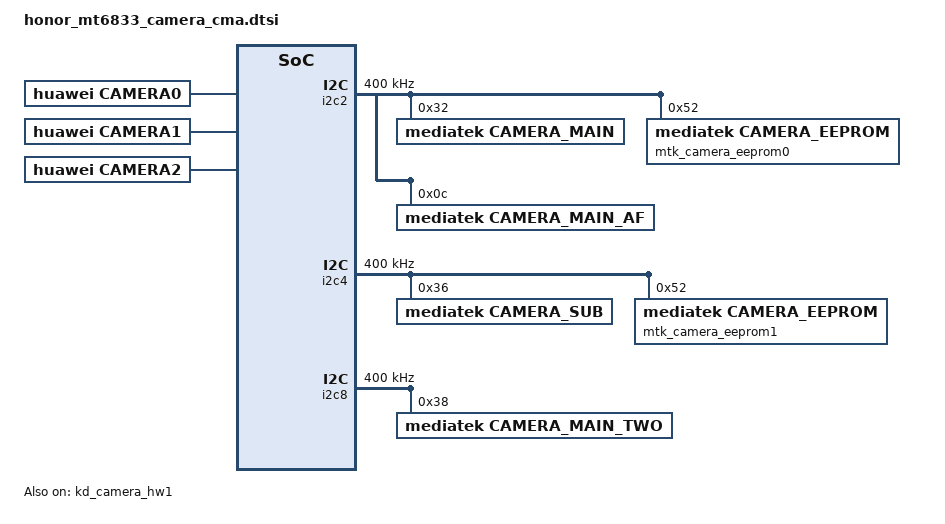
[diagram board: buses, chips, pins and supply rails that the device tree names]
/*
 * Copyright (c) 2019 MediaTek Inc.
 *
 * This program is free software; you can redistribute it and/or modify
 * it under the terms of the GNU General Public License version 2 as
 * published by the Free Software Foundation.
 *
 * This program is distributed in the hope that it will be useful,
 * but WITHOUT ANY WARRANTY; without even the implied warranty of
 * MERCHANTABILITY or FITNESS FOR A PARTICULAR PURPOSE.  See the
 * GNU General Public License for more details.
 */
/* CAMERA GPIO standardization */

&product_name_camera {
	product-name = "Carmella";
	cam-isp-dsm-enabled = <1>;
};

&pio {
/* main cam */
	camera_pins_cam0_rst_0: cam0@0 {
		pins_cmd_dat {
			pinmux = <PINMUX_GPIO54__FUNC_GPIO54>;
			slew-rate = <1>;
			output-low;
		};
	};
	camera_pins_cam0_rst_1: cam0@1 {
		pins_cmd_dat {
			pinmux = <PINMUX_GPIO54__FUNC_GPIO54>;
			slew-rate = <1>;
			output-high;
		};
	};
	camera_pins_cam0_vcamd_en_0: cam0@vcam0 {
		pins_cmd_dat {
			pinmux = <PINMUX_GPIO94__FUNC_GPIO94>;
			slew-rate = <1>;
			output-low;
		};
	};
	camera_pins_cam0_vcamd_en_1: cam0@vcam1 {
		pins_cmd_dat {
			pinmux = <PINMUX_GPIO94__FUNC_GPIO94>;
			slew-rate = <1>;
			output-high;
		};
	};
	camera_pins_cam0_vcamd_sel_0: cam0@vcam2 {
		pins_cmd_dat {
			pinmux = <PINMUX_GPIO93__FUNC_GPIO93>;
			slew-rate = <1>;
			output-low;
		};
	};
	camera_pins_cam0_vcamd_sel_1: cam0@vcam3 {
		pins_cmd_dat {
			pinmux = <PINMUX_GPIO93__FUNC_GPIO93>;
			slew-rate = <0>;
			bias-disable;
		};
	};
	camera_pins_cam0_vcama_sel_0: cam1@vcam4 {
		pins_cmd_dat {
			pinmux = <PINMUX_GPIO132__FUNC_GPIO132>;
			slew-rate = <1>;
			output-low;
		};
	};
	camera_pins_cam0_vcama_sel_1: cam1@vcam5 {
		pins_cmd_dat {
			pinmux = <PINMUX_GPIO132__FUNC_GPIO132>;
			slew-rate = <0>;
			bias-disable;
		};
	};
	camera_pins_cam0_vcama_en_0: cam0@vcam4 {
		pins_cmd_dat {
			pinmux = <PINMUX_GPIO89__FUNC_GPIO89>;
			slew-rate = <1>;
			output-low;
		};
	};
	camera_pins_cam0_vcama_en_1: cam0@vcam5 {
		pins_cmd_dat {
			pinmux = <PINMUX_GPIO89__FUNC_GPIO89>;
			slew-rate = <1>;
			output-high;
		};
	};
	camera_pins_cam0_mclk_off: camera_pins_cam0_mclk_off {
		pins_cmd_dat {
			pinmux = <PINMUX_GPIO49__FUNC_GPIO49>;
			drive-strength = <1>;
		};
	};
	camera_pins_cam0_mclk_2ma: camera_pins_cam0_mclk_2ma {
		pins_cmd_dat {
			pinmux = <PINMUX_GPIO49__FUNC_CMMCLK0>;
			drive-strength = <0>;
		};
	};
	camera_pins_cam0_mclk_4ma: camera_pins_cam0_mclk_4ma {
		pins_cmd_dat {
			pinmux = <PINMUX_GPIO49__FUNC_CMMCLK0>;
			drive-strength = <1>;
		};
	};
	camera_pins_cam0_mclk_6ma: camera_pins_cam0_mclk_6ma {
		pins_cmd_dat {
			pinmux = <PINMUX_GPIO49__FUNC_CMMCLK0>;
			drive-strength = <2>;
		};
	};
	camera_pins_cam0_mclk_8ma: camera_pins_cam0_mclk_8ma {
		pins_cmd_dat {
			pinmux = <PINMUX_GPIO49__FUNC_CMMCLK0>;
			drive-strength = <3>;
		};
	};
/*front cam */
	camera_pins_cam1_rst_0: cam1@0 {
		pins_cmd_dat {
			pinmux = <PINMUX_GPIO53__FUNC_GPIO53>;
			slew-rate = <1>;
			output-low;
		};
	};
	camera_pins_cam1_rst_1: cam1@1 {
		pins_cmd_dat {
			pinmux = <PINMUX_GPIO53__FUNC_GPIO53>;
			slew-rate = <1>;
			output-high;
		};
	};
	camera_pins_cam1_vcamd_en_0: cam1@vcam0 {
		pins_cmd_dat {
			pinmux = <PINMUX_GPIO94__FUNC_GPIO94>;
			slew-rate = <1>;
			output-low;
		};
	};
	camera_pins_cam1_vcamd_en_1: cam1@vcam1 {
		pins_cmd_dat {
			pinmux = <PINMUX_GPIO94__FUNC_GPIO94>;
			slew-rate = <1>;
			output-high;
		};
	};
	camera_pins_cam1_vcamd_sel_0: cam1@vcam2 {
		pins_cmd_dat {
			pinmux = <PINMUX_GPIO93__FUNC_GPIO93>;
			slew-rate = <1>;
			output-low;
		};
	};
	camera_pins_cam1_vcamd_sel_1: cam1@vcam3 {
		pins_cmd_dat {
			pinmux = <PINMUX_GPIO93__FUNC_GPIO93>;
			slew-rate = <0>;
			bias-disable;
		};
	};
	camera_pins_cam1_mclk_off: camera_pins_cam1_mclk_off {
		pins_cmd_dat {
			pinmux = <PINMUX_GPIO52__FUNC_GPIO52>;
			drive-strength = <1>;
		};
	};
	camera_pins_cam1_mclk_2ma: camera_pins_cam1_mclk_2ma {
		pins_cmd_dat {
			pinmux = <PINMUX_GPIO52__FUNC_CMMCLK3>;
			drive-strength = <0>;
		};
	};
	camera_pins_cam1_mclk_4ma: camera_pins_cam1_mclk_4ma {
		pins_cmd_dat {
			pinmux = <PINMUX_GPIO52__FUNC_CMMCLK3>;
			drive-strength = <1>;
		};
	};
	camera_pins_cam1_mclk_6ma: camera_pins_cam1_mclk_6ma {
		pins_cmd_dat {
			pinmux = <PINMUX_GPIO52__FUNC_CMMCLK3>;
			drive-strength = <2>;
		};
	};
	camera_pins_cam1_mclk_8ma: camera_pins_cam1_mclk_8ma {
		pins_cmd_dat {
			pinmux = <PINMUX_GPIO52__FUNC_CMMCLK3>;
			drive-strength = <3>;
		};
	};

/* main2 depth */
	camera_pins_cam2_pdn_0: cam2@0 {
		pins_cmd_dat {
			pinmux = <PINMUX_GPIO56__FUNC_GPIO56>;
			slew-rate = <1>;
			output-low;
		};
	};
	camera_pins_cam2_pdn_1: cam2@1 {
		pins_cmd_dat {
			pinmux = <PINMUX_GPIO56__FUNC_GPIO56>;
			slew-rate = <1>;
			output-high;
		};
	};
	camera_pins_cam2_mclk_off: camera_pins_cam2_mclk_off {
		pins_cmd_dat {
			pinmux = <PINMUX_GPIO50__FUNC_GPIO50>;
			drive-strength = <1>;
		};
	};
	camera_pins_cam2_mclk_2ma: camera_pins_cam2_mclk_2ma {
		pins_cmd_dat {
			pinmux = <PINMUX_GPIO50__FUNC_CMMCLK1>;
			drive-strength = <0>;
		};
	};
	camera_pins_cam2_mclk_4ma: camera_pins_cam2_mclk_4ma {
		pins_cmd_dat {
			pinmux = <PINMUX_GPIO50__FUNC_CMMCLK1>;
			drive-strength = <1>;
		};
	};
	camera_pins_cam2_mclk_6ma: camera_pins_cam2_mclk_6ma {
		pins_cmd_dat {
			pinmux = <PINMUX_GPIO50__FUNC_CMMCLK1>;
			drive-strength = <2>;
		};
	};
	camera_pins_cam2_mclk_8ma: camera_pins_cam2_mclk_8ma {
		pins_cmd_dat {
			pinmux = <PINMUX_GPIO50__FUNC_CMMCLK1>;
			drive-strength = <3>;
		};
	};

	camera_pins_default: camdefault {
	};
};
&kd_camera_hw1 {
		pinctrl-names = "default",
				"cam0_rst0", "cam0_rst1",
				"cam0_vcamd_en_0", "cam0_vcamd_en_1",
				"cam0_vcamd_sel_0", "cam0_vcamd_sel_1",
				"cam0_vcama_sel_0", "cam0_vcama_sel_1",
				"cam0_vcama_en_0", "cam0_vcama_en_1",
				"cam0_mclk_off",
				"cam0_mclk_2mA", "cam0_mclk_4mA",
				"cam0_mclk_6mA", "cam0_mclk_8mA",

				"cam1_rst0", "cam1_rst1",
				"cam1_vcamd_en_0", "cam1_vcamd_en_1",
				"cam1_vcamd_sel_0", "cam1_vcamd_sel_1",
				"cam1_mclk_off",
				"cam1_mclk_2mA", "cam1_mclk_4mA",
				"cam1_mclk_6mA", "cam1_mclk_8mA",

				"cam2_pnd0", "cam2_pnd1",
				"cam2_mclk_off",
				"cam2_mclk_2mA", "cam2_mclk_4mA",
				"cam2_mclk_6mA", "cam2_mclk_8mA";

		pinctrl-0 = <&camera_pins_default>;
		pinctrl-1 = <&camera_pins_cam0_rst_0>;
		pinctrl-2 = <&camera_pins_cam0_rst_1>;
		pinctrl-3 = <&camera_pins_cam0_vcamd_en_0>;
		pinctrl-4 = <&camera_pins_cam0_vcamd_en_1>;
		pinctrl-5 = <&camera_pins_cam0_vcamd_sel_0>;
		pinctrl-6 = <&camera_pins_cam0_vcamd_sel_1>;
		pinctrl-7 = <&camera_pins_cam0_vcama_sel_0>;
		pinctrl-8 = <&camera_pins_cam0_vcama_sel_1>;
		pinctrl-9 = <&camera_pins_cam0_vcama_en_0>;
		pinctrl-10= <&camera_pins_cam0_vcama_en_1>;
		pinctrl-11  = <&camera_pins_cam0_mclk_off>;
		pinctrl-12  = <&camera_pins_cam0_mclk_2ma>;
		pinctrl-13  = <&camera_pins_cam0_mclk_4ma>;
		pinctrl-14  = <&camera_pins_cam0_mclk_6ma>;
		pinctrl-15  = <&camera_pins_cam0_mclk_8ma>;
		pinctrl-16  = <&camera_pins_cam1_rst_0>;
		pinctrl-17  = <&camera_pins_cam1_rst_1>;
		pinctrl-18  = <&camera_pins_cam1_vcamd_en_0>;
		pinctrl-19  = <&camera_pins_cam1_vcamd_en_1>;
		pinctrl-20  = <&camera_pins_cam1_vcamd_sel_0>;
		pinctrl-21  = <&camera_pins_cam1_vcamd_sel_1>;
		pinctrl-22  = <&camera_pins_cam1_mclk_off>;
		pinctrl-23  = <&camera_pins_cam1_mclk_2ma>;
		pinctrl-24  = <&camera_pins_cam1_mclk_4ma>;
		pinctrl-25  = <&camera_pins_cam1_mclk_6ma>;
		pinctrl-26  = <&camera_pins_cam1_mclk_8ma>;
		pinctrl-27  = <&camera_pins_cam2_pdn_0>;
		pinctrl-28  = <&camera_pins_cam2_pdn_1>;
		pinctrl-29  = <&camera_pins_cam2_mclk_off>;
		pinctrl-30  = <&camera_pins_cam2_mclk_2ma>;
		pinctrl-31  = <&camera_pins_cam2_mclk_4ma>;
		pinctrl-32 = <&camera_pins_cam2_mclk_6ma>;
		pinctrl-33 = <&camera_pins_cam2_mclk_8ma>;

		cam0_vcamio-supply = <&mt_pmic_vcamio_ldo_reg>;
		cam0_vcamaf-supply = <&mt_pmic_vio28_ldo_reg>;

		cam1_vcamio-supply = <&mt_pmic_vcamio_ldo_reg>;
		cam1_vcama-supply  = <&mt_pmic_vtp_ldo_reg>;

		cam2_vcamio-supply = <&mt_pmic_vcamio_ldo_reg>;
		cam2_vcama-supply  = <&mt_pmic_vtp_ldo_reg>;

		status = "okay";
};
/* CAMERA GPIO end */
&mediatek_camera {
	max-cam-num = "3";

	camera0 {
		compatible    = "huawei,camera0";
		sensor-index  = "0";
		mclk-index    = "0";
		csi-port      = "2";
		csi-dir       = "0";
		bit-order     = "0";
		orientation   = "90";
		sensor-hfov   = "67";
		sensor-vfov   = "49";

		i2c-dev-index = <0>;  // IMGSENSOR_I2C_DEV_0
		pin-type      =
				"mclk",
				"avdd_en",
				"dvdd_en",
				"dvdd_sel",
				"avdd_sel",
				"dovdd",
				"afvdd",
				"rst";
		pin-id       = <0 2 2 2 2 1 1 2>;
	};

	camera1 {
		compatible    = "huawei,camera1";
		sensor-index  = "1";
		mclk-index    = "3";
		csi-port      = "1";
		csi-dir       = "1";
		bit-order     = "0";
		orientation   = "270";
		sensor-hfov   = "63";
		sensor-vfov   = "40";

		i2c-dev-index = <1>;  // IMGSENSOR_I2C_DEV_1
		pin-type      =
				"mclk",
				"avdd",
				"dvdd_en",
				"dvdd_sel",
				"dovdd",
				"rst";
		pin-id       = <0 1 2 2 1 2>;
	};

	camera2 {
		compatible    = "huawei,camera2";
		sensor-index  = "2";
		mclk-index    = "1";
		csi-port      = "5";
		csi-dir       = "0";
		bit-order     = "0";
		orientation   = "90";
		sensor-hfov   = "75";
		sensor-vfov   = "60";

		i2c-dev-index = <2>;  // IMGSENSOR_I2C_DEV_2
		pin-type      =
				"mclk",
				"avdd",
				"dvdd",
				"dovdd",
				"pwdn",
				"rst";
		pin-id       = <0 1 1 1 2 2>;
	};

};
/* CAMERA EEPROM */
&i2c2 {
	clock-frequency = <400000>;
	camera_main:camera_main@32 {
		compatible = "mediatek,camera_main";
		reg = <0x32>;
		status = "okay";
	};
	mtk_camera_eeprom0:camera_eeprom0@52 {
		compatible = "mediatek,camera_eeprom";
		reg = <0x52>;
		status = "okay";
	};
	camera_main_af:camera_main_af@0c {
		compatible = "mediatek,camera_main_af";
		reg = <0x0c>;
		status = "okay";
	};
};

&i2c4 {
	clock-frequency = <400000>;
	camera_sub:camera_sub@36 {
		compatible = "mediatek,camera_sub";
		reg = <0x36>;
		status = "okay";
	};
	mtk_camera_eeprom1:camera_eeprom1@52 {
		compatible = "mediatek,camera_eeprom";
		reg = <0x52>;
		status = "okay";
	};
};
&i2c8 {
	clock-frequency = <400000>;
	camera_main_two:camera_main_two@38 {
		compatible = "mediatek,camera_main_two";
		reg = <0x38>;
		status = "okay";
	};
};

/* CAMERA EEPROM end */
